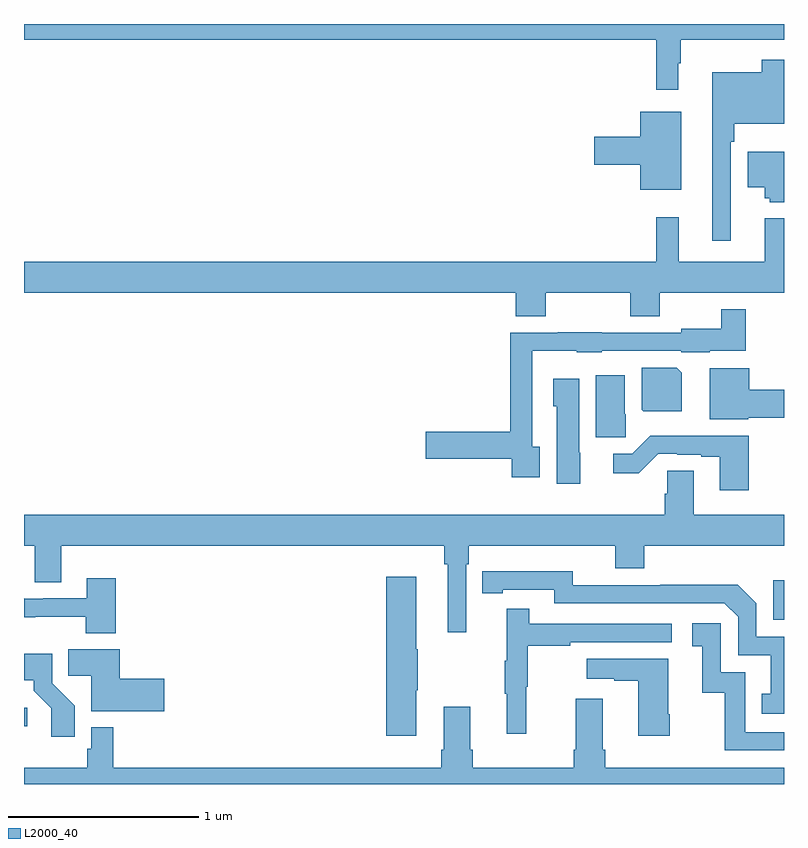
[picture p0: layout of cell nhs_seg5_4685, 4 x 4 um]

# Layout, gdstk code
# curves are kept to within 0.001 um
import gdstk
lib = gdstk.Library(unit=1e-6, precision=1e-09)
def R(c, l, rs):  # rectangles x0, y0, x1, y1
    for r in rs: c.add(gdstk.rectangle(r[:2], r[2:], *l))
def P(c, l, *ps):  # polygons
    for p in ps: c.add(gdstk.Polygon(p, *l))
L2000_40 = (2000, 40)

nhs_seg5_4685 = lib.new_cell('nhs_seg5_4685')
R(nhs_seg5_4685, L2000_40, [(385,897.103,385.018,897.201), (388.944,897.663,389,897.871)])
P(nhs_seg5_4685, L2000_40, [(388.444,900.593),(388.456,900.593),(388.456,900.716),(389,900.716),(389,900.799),(385,900.799),(385,900.716),(388.327,900.716),(388.327,900.453),(388.444,900.453)],
  [(388.719,900.179),(388.739,900.179),(388.739,900.275),(389,900.275),(389,900.61),(388.884,900.61),(388.884,900.544),(388.622,900.544),(388.622,899.658),(388.719,899.658)],
  [(388.459,900.337),(388.244,900.337),(388.244,900.206),(388.002,900.206),(388.002,900.059),(388.244,900.059),(388.244,899.927),(388.459,899.927)],
  [(389,900.127),(388.808,900.127),(388.808,899.939),(388.898,899.939),(388.898,899.883),(388.926,899.883),(388.926,899.861),(389,899.861)],
  [(387.747,899.384),(388.192,899.384),(388.192,899.26),(388.347,899.26),(388.347,899.384),(389,899.384),(389,899.776),(388.898,899.776),(388.898,899.548),(388.445,899.548),(388.445,899.782),(388.327,899.782),(388.327,899.548),(385,899.548),(385,899.384),(387.587,899.384),(387.587,899.26),(387.747,899.26)],
  [(387.715,898.574),(387.675,898.574),(387.675,899.078),(387.909,899.078),(387.909,899.072),(388.041,899.072),(388.041,899.079),(388.458,899.079),(388.458,899.072),(388.608,899.072),(388.608,899.078),(388.799,899.078),(388.799,899.299),(388.671,899.299),(388.671,899.194),(388.458,899.194),(388.458,899.175),(388.041,899.175),(388.041,899.177),(387.809,899.177),(387.809,899.175),(387.559,899.175),(387.559,898.652),(387.114,898.652),(387.114,898.51),(387.567,898.51),(387.567,898.413),(387.715,898.413)],
  [(388.462,898.964),(388.436,898.99),(388.25,898.99),(388.25,898.768),(388.258,898.76),(388.462,898.76)],
  [(388.812,898.727),(389,898.727),(389,898.874),(388.816,898.874),(388.816,898.988),(388.61,898.988),(388.61,898.718),(388.812,898.718)],
  [(388.166,898.746),(388.162,898.746),(388.162,898.951),(388.01,898.951),(388.01,898.623),(388.166,898.623)],
  [(387.928,898.542),(387.922,898.542),(387.922,898.933),(387.785,898.933),(387.785,898.788),(387.803,898.788),(387.803,898.38),(387.928,898.38)],
  [(388.814,898.631),(388.295,898.631),(388.2,898.536),(388.101,898.536),(388.101,898.434),(388.236,898.434),(388.338,898.536),(388.438,898.536),(388.438,898.533),(388.565,898.533),(388.565,898.521),(388.661,898.521),(388.661,898.344),(388.814,898.344)],
  [(387.327,897.956),(387.341,897.956),(387.341,898.052),(388.112,898.052),(388.112,897.935),(388.265,897.935),(388.265,898.052),(389,898.052),(389,898.216),(388.525,898.216),(388.525,898.448),(388.386,898.448),(388.386,898.326),(388.373,898.326),(388.373,898.216),(385,898.216),(385,898.052),(385.056,898.052),(385.056,897.862),(385.195,897.862),(385.195,898.052),(387.211,898.052),(387.211,897.956),(387.23,897.956),(387.23,897.597),(387.327,897.597)],
  [(389,897.573),(388.854,897.573),(388.854,897.75),(388.756,897.848),(388.348,897.848),(388.348,897.846),(387.888,897.846),(387.888,897.919),(387.412,897.918),(387.412,897.802),(387.52,897.802),(387.52,897.822),(387.792,897.822),(387.792,897.75),(388.686,897.75),(388.758,897.678),(388.758,897.477),(388.931,897.477),(388.931,897.273),(388.882,897.273),(388.882,897.168),(389,897.168)],
  [(387.064,897.292),(387.072,897.292),(387.072,897.509),(387.064,897.509),(387.064,897.889),(386.906,897.889),(386.906,897.054),(387.064,897.054)],
  [(385.484,897.883),(385.331,897.883),(385.331,897.777),(385.102,897.777),(385.102,897.774),(385.002,897.774),(385,897.776),(385,897.677),(385.324,897.678),(385.324,897.593),(385.484,897.593)],
  [(387.644,897.312),(387.652,897.312),(387.652,897.526),(387.875,897.526),(387.875,897.546),(388.408,897.546),(388.408,897.642),(387.659,897.642),(387.659,897.721),(387.542,897.721),(387.542,897.449),(387.531,897.449),(387.531,897.275),(387.542,897.275),(387.542,897.063),(387.644,897.063)],
  [(389,897.072),(388.797,897.072),(388.797,897.387),(388.668,897.387),(388.668,897.646),(388.518,897.646),(388.518,897.525),(388.571,897.525),(388.571,897.279),(388.689,897.279),(388.689,896.976),(389,896.976)],
  [(385.738,897.353),(385.505,897.353),(385.505,897.508),(385.234,897.508),(385.234,897.37),(385.355,897.37),(385.355,897.182),(385.738,897.182)],
  [(385.268,897.21),(385.149,897.329),(385.149,897.484),(385,897.484),(385,897.344),(385.052,897.344),(385.052,897.289),(385.143,897.199),(385.143,897.048),(385.268,897.048)],
  [(388.398,897.166),(388.39,897.166),(388.39,897.457),(387.963,897.457),(387.963,897.353),(388.106,897.353),(388.106,897.343),(388.232,897.343),(388.232,897.054),(388.398,897.054)],
  [(389,896.884),(388.058,896.884),(388.058,896.98),(388.045,896.98),(388.045,897.247),(387.905,897.247),(387.905,896.98),(387.893,896.98),(387.893,896.884),(387.362,896.884),(387.362,896.98),(387.349,896.98),(387.349,897.205),(387.209,897.205),(387.209,896.98),(387.197,896.98),(387.197,896.884),(385.469,896.884),(385.469,897.097),(385.353,897.097),(385.353,896.985),(385.333,896.985),(385.333,896.884),(385,896.884),(385,896.799),(389,896.799)])

lib.write_gds('nhs_seg5_4685.gds')
